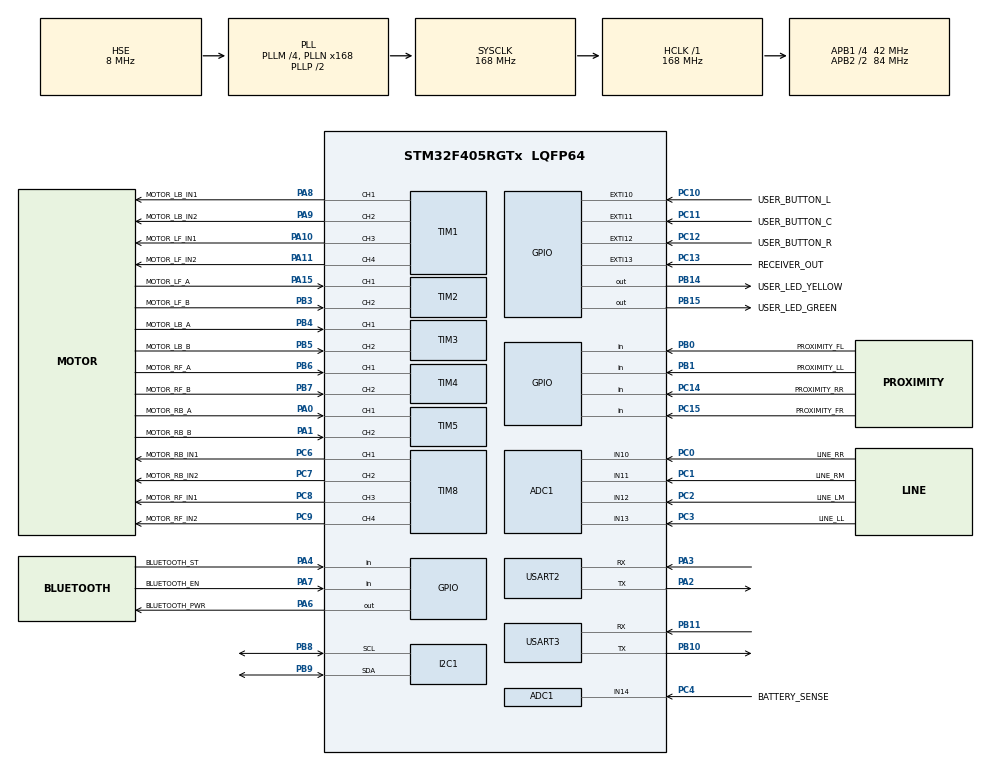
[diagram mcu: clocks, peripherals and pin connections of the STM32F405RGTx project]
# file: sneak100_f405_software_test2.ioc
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ADC1.Channel-1\#ChannelRegularConversion=ADC_CHANNEL_10
ADC1.Channel-2\#ChannelRegularConversion=ADC_CHANNEL_11
ADC1.Channel-3\#ChannelRegularConversion=ADC_CHANNEL_12
ADC1.Channel-4\#ChannelRegularConversion=ADC_CHANNEL_13
ADC1.Channel-5\#ChannelRegularConversion=ADC_CHANNEL_14
ADC1.Channel-6\#ChannelRegularConversion=ADC_CHANNEL_TEMPSENSOR
ADC1.ContinuousConvMode=ENABLE
ADC1.DMAContinuousRequests=ENABLE
ADC1.NbrOfConversion=6
ADC1.NbrOfConversionFlag=1
ADC1.Rank-1\#ChannelRegularConversion=1
ADC1.Rank-2\#ChannelRegularConversion=2
ADC1.Rank-3\#ChannelRegularConversion=3
ADC1.Rank-4\#ChannelRegularConversion=4
ADC1.Rank-5\#ChannelRegularConversion=5
ADC1.Rank-6\#ChannelRegularConversion=6
ADC1.SamplingTime-1\#ChannelRegularConversion=ADC_SAMPLETIME_480CYCLES
ADC1.SamplingTime-2\#ChannelRegularConversion=ADC_SAMPLETIME_480CYCLES
ADC1.SamplingTime-3\#ChannelRegularConversion=ADC_SAMPLETIME_480CYCLES
ADC1.SamplingTime-4\#ChannelRegularConversion=ADC_SAMPLETIME_480CYCLES
ADC1.SamplingTime-5\#ChannelRegularConversion=ADC_SAMPLETIME_480CYCLES
ADC1.SamplingTime-6\#ChannelRegularConversion=ADC_SAMPLETIME_480CYCLES
ADC1.ScanConvMode=ENABLE
ADC1.master=1
Dma.ADC1.0.Direction=DMA_PERIPH_TO_MEMORY
Dma.ADC1.0.FIFOMode=DMA_FIFOMODE_DISABLE
Dma.ADC1.0.Instance=DMA2_Stream0
Dma.ADC1.0.MemDataAlignment=DMA_MDATAALIGN_HALFWORD
Dma.ADC1.0.MemInc=DMA_MINC_ENABLE
Dma.ADC1.0.Mode=DMA_CIRCULAR
Dma.ADC1.0.PeriphDataAlignment=DMA_PDATAALIGN_HALFWORD
Dma.ADC1.0.PeriphInc=DMA_PINC_DISABLE
Dma.ADC1.0.Priority=DMA_PRIORITY_LOW
Dma.Request0=ADC1
I2C1.I2C_Mode=I2C_Fast
Mcu.Family=STM32F4
Mcu.Name=STM32F405RGTx
Mcu.Package=LQFP64
NVIC.DMA2_Stream0_IRQn=true\:0\:0\:false\:false\:true\:false\:true
NVIC.EXTI15_10_IRQn=true\:0\:0\:false\:false\:true\:true\:true
NVIC.PriorityGroup=NVIC_PRIORITYGROUP_4
NVIC.TIM6_DAC_IRQn=true\:0\:0\:false\:false\:true\:false\:true
NVIC.TIM7_IRQn=true\:0\:0\:false\:false\:true\:true\:true
NVIC.TimeBase=TIM6_DAC_IRQn
NVIC.TimeBaseIP=TIM6
PA0-WKUP.GPIO_Label=MOTOR_RB_A
PA0-WKUP.Signal=S_TIM5_CH1
PA1.GPIO_Label=MOTOR_RB_B
PA1.Signal=S_TIM5_CH2
PA10.GPIO_Label=MOTOR_LF_IN1
PA10.Signal=S_TIM1_CH3
PA11.GPIO_Label=MOTOR_LF_IN2
PA11.Signal=S_TIM1_CH4
PA13.Mode=Serial_Wire
PA13.Signal=SYS_JTMS-SWDIO
PA14.Mode=Serial_Wire
PA14.Signal=SYS_JTCK-SWCLK
PA15.GPIO_Label=MOTOR_LF_A
PA15.Signal=S_TIM2_CH1_ETR
PA2.Mode=Asynchronous
PA2.Signal=USART2_TX
PA3.Mode=Asynchronous
PA3.Signal=USART2_RX
PA4.GPIO_Label=BLUETOOTH_ST
PA4.Signal=GPIO_Input
PA6.GPIO_Label=BLUETOOTH_PWR
PA6.GPIO_ModeDefaultOutputPP=GPIO_MODE_OUTPUT_OD
PA6.Signal=GPIO_Output
PA7.GPIO_Label=BLUETOOTH_EN
PA7.Signal=GPIO_Input
PA8.GPIO_Label=MOTOR_LB_IN1
PA8.Signal=S_TIM1_CH1
PA9.GPIO_Label=MOTOR_LB_IN2
PA9.Signal=S_TIM1_CH2
PB0.GPIO_Label=PROXIMITY_FL
PB0.GPIO_PuPd=GPIO_PULLUP
PB0.Signal=GPIO_Input
PB1.GPIO_Label=PROXIMITY_LL
PB1.GPIO_PuPd=GPIO_PULLUP
PB1.Signal=GPIO_Input
PB10.Mode=Asynchronous
PB10.Signal=USART3_TX
PB11.Mode=Asynchronous
PB11.Signal=USART3_RX
PB14.GPIO_Label=USER_LED_YELLOW
PB14.Signal=GPIO_Output
PB15.GPIO_Label=USER_LED_GREEN
PB15.Signal=GPIO_Output
PB3.GPIO_Label=MOTOR_LF_B
PB3.Signal=S_TIM2_CH2
PB4.GPIO_Label=MOTOR_LB_A
PB4.Signal=S_TIM3_CH1
PB5.GPIO_Label=MOTOR_LB_B
PB5.Signal=S_TIM3_CH2
PB6.GPIO_Label=MOTOR_RF_A
PB6.Signal=S_TIM4_CH1
PB7.GPIO_Label=MOTOR_RF_B
PB7.Signal=S_TIM4_CH2
PB8.Mode=I2C
PB8.Signal=I2C1_SCL
PB9.Mode=I2C
PB9.Signal=I2C1_SDA
PC0.GPIO_Label=LINE_RR
PC0.Signal=ADCx_IN10
PC1.GPIO_Label=LINE_RM
PC1.Signal=ADCx_IN11
PC10.GPIO_Label=USER_BUTTON_L
PC10.GPIO_ModeDefaultEXTI=GPIO_MODE_IT_RISING_FALLING
PC10.Signal=GPXTI10
PC11.GPIO_Label=USER_BUTTON_C
PC11.GPIO_ModeDefaultEXTI=GPIO_MODE_IT_RISING_FALLING
PC11.Signal=GPXTI11
PC12.GPIO_Label=USER_BUTTON_R
PC12.GPIO_ModeDefaultEXTI=GPIO_MODE_IT_RISING_FALLING
PC12.Signal=GPXTI12
PC13-ANTI_TAMP.GPIO_Label=RECEIVER_OUT
PC13-ANTI_TAMP.GPIO_ModeDefaultEXTI=GPIO_MODE_IT_RISING_FALLING
PC13-ANTI_TAMP.Signal=GPXTI13
PC14-OSC32_IN.GPIO_Label=PROXIMITY_RR
PC14-OSC32_IN.GPIO_PuPd=GPIO_PULLUP
PC14-OSC32_IN.Signal=GPIO_Input
PC15-OSC32_OUT.GPIO_Label=PROXIMITY_FR
PC15-OSC32_OUT.GPIO_PuPd=GPIO_PULLUP
PC15-OSC32_OUT.Signal=GPIO_Input
PC2.GPIO_Label=LINE_LM
PC2.Signal=ADCx_IN12
PC3.GPIO_Label=LINE_LL
PC3.Signal=ADCx_IN13
PC4.GPIO_Label=BATTERY_SENSE
PC4.Signal=ADCx_IN14
PC6.GPIO_Label=MOTOR_RB_IN1
PC6.Signal=S_TIM8_CH1
PC7.GPIO_Label=MOTOR_RB_IN2
PC7.Signal=S_TIM8_CH2
PC8.GPIO_Label=MOTOR_RF_IN1
PC8.Signal=S_TIM8_CH3
PC9.GPIO_Label=MOTOR_RF_IN2
PC9.Signal=S_TIM8_CH4
PH0-OSC_IN.Mode=HSE-External-Oscillator
PH0-OSC_IN.Signal=RCC_OSC_IN
PH1-OSC_OUT.Mode=HSE-External-Oscillator
PH1-OSC_OUT.Signal=RCC_OSC_OUT
ProjectManager.HeapSize=0x200
ProjectManager.StackSize=0x400
ProjectManager.TargetToolchain=STM32CubeIDE
RCC.48MHZClocksFreq_Value=84000000
RCC.AHBFreq_Value=168000000
RCC.APB1CLKDivider=RCC_HCLK_DIV4
RCC.APB1Freq_Value=42000000
RCC.APB1TimFreq_Value=84000000
RCC.APB2CLKDivider=RCC_HCLK_DIV2
RCC.APB2Freq_Value=84000000
RCC.APB2TimFreq_Value=168000000
RCC.CortexFreq_Value=168000000
RCC.HCLKFreq_Value=168000000
RCC.HSE_VALUE=8000000
RCC.HSI_VALUE=16000000
RCC.LSE_VALUE=32768
RCC.PLLM=4
RCC.PLLN=168
RCC.PLLSourceVirtual=RCC_PLLSOURCE_HSE
RCC.SYSCLKFreq_VALUE=168000000
RCC.SYSCLKSource=RCC_SYSCLKSOURCE_PLLCLK
RCC.VCOOutputFreq_Value=336000000
SH.ADCx_IN10.0=ADC1_IN10,IN10
SH.ADCx_IN11.0=ADC1_IN11,IN11
SH.ADCx_IN12.0=ADC1_IN12,IN12
SH.ADCx_IN13.0=ADC1_IN13,IN13
SH.ADCx_IN14.0=ADC1_IN14,IN14
SH.S_TIM1_CH1.0=TIM1_CH1,PWM Generation1 CH1
SH.S_TIM1_CH2.0=TIM1_CH2,PWM Generation2 CH2
SH.S_TIM1_CH3.0=TIM1_CH3,PWM Generation3 CH3
SH.S_TIM1_CH4.0=TIM1_CH4,PWM Generation4 CH4
SH.S_TIM2_CH1_ETR.0=TIM2_CH1,Encoder_Interface
SH.S_TIM2_CH2.0=TIM2_CH2,Encoder_Interface
SH.S_TIM3_CH1.0=TIM3_CH1,Encoder_Interface
SH.S_TIM3_CH2.0=TIM3_CH2,Encoder_Interface
SH.S_TIM4_CH1.0=TIM4_CH1,Encoder_Interface
SH.S_TIM4_CH2.0=TIM4_CH2,Encoder_Interface
SH.S_TIM5_CH1.0=TIM5_CH1,Encoder_Interface
SH.S_TIM5_CH2.0=TIM5_CH2,Encoder_Interface
SH.S_TIM8_CH1.0=TIM8_CH1,PWM Generation1 CH1
SH.S_TIM8_CH2.0=TIM8_CH2,PWM Generation2 CH2
SH.S_TIM8_CH3.0=TIM8_CH3,PWM Generation3 CH3
SH.S_TIM8_CH4.0=TIM8_CH4,PWM Generation4 CH4
TIM1.Channel-PWM\ Generation1\ CH1=TIM_CHANNEL_1
TIM1.Channel-PWM\ Generation2\ CH2=TIM_CHANNEL_2
TIM1.Channel-PWM\ Generation3\ CH3=TIM_CHANNEL_3
TIM1.Channel-PWM\ Generation4\ CH4=TIM_CHANNEL_4
TIM7.Prescaler=83
TIM8.Channel-PWM\ Generation1\ CH1=TIM_CHANNEL_1
TIM8.Channel-PWM\ Generation2\ CH2=TIM_CHANNEL_2
TIM8.Channel-PWM\ Generation3\ CH3=TIM_CHANNEL_3
TIM8.Channel-PWM\ Generation4\ CH4=TIM_CHANNEL_4
USART2.VirtualMode=VM_ASYNC
USART3.VirtualMode=VM_ASYNC
VP_ADC1_TempSens_Input.Mode=IN-TempSens
VP_SYS_VS_tim6.Mode=TIM6
VP_TIM7_VS_ClockSourceINT.Mode=Enable_Timer
board=custom

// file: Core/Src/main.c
/* USER CODE BEGIN Header */
/**
  ******************************************************************************
  * @file           : main.c
  * @brief          : Main program body
  ******************************************************************************
  * @attention
  *
  * <h2><center>&copy; Copyright (c) 2021 STMicroelectronics.
  * All rights reserved.</center></h2>
  *
  * This software component is licensed by ST under BSD 3-Clause license,
  * the "License"; You may not use this file except in compliance with the
  * License. You may obtain a copy of the License at:
  *                        opensource.org/licenses/BSD-3-Clause
  *
  ******************************************************************************
  */
/* USER CODE END Header */
#include "main.h"
#include "adc.h"
#include "dma.h"
#include "i2c.h"
#include "tim.h"
#include "usart.h"
#include "gpio.h"

/* USER CODE BEGIN Includes */

#include "sneak100_adc.h"
#include "sneak100_bluetooth.h"
#include "sneak100_display.h"
#include "sneak100_motors.h"
#include "sneak100_proximity.h"
#include "sneak100_memory.h"
#include "sneak100_rc5.h"

#include <math.h>

/* USER CODE END Includes */

void SystemClock_Config(void);

int main(void)
{

  /* MCU Configuration--------------------------------------------------------*/

  /* Reset of all peripherals, Initializes the Flash interface and the Systick. */
  HAL_Init();

  /* Configure the system clock */
  SystemClock_Config();

  /* Initialize all configured peripherals */
  MX_GPIO_Init();
  MX_DMA_Init();
  MX_ADC1_Init();
  MX_I2C1_Init();
  MX_USART2_UART_Init();
  MX_USART3_UART_Init();
  MX_TIM1_Init();
  MX_TIM2_Init();
  MX_TIM3_Init();
  MX_TIM4_Init();
  MX_TIM5_Init();
  MX_TIM7_Init();
  MX_TIM8_Init();
  /* USER CODE BEGIN 2 */

  SNEAK100_ADC_Init();
  SNEAK100_Motors_Init();
  SNEAK100_Display_Init();
  SNEAK100_Memory_Init();
  SNEAK100_Proximity_Init();
  SNEAK100_RC5_Init();

  /* USER CODE END 2 */

  /* Infinite loop */
  /* USER CODE BEGIN WHILE */
  while(1) {

	  for(uint8_t i=0; i<4; i++) {
		  gui.data.position[i] = Encoder_GetPositionRaw(&encoders[i]);
		  gui.data.velocity[i] = Encoder_GetVelocity(&encoders[i]);
		  gui.data.line[i] = *lines[i].read_src;
		  gui.data.line_threshold[i] = lines[i].threshold;
		  gui.data.line_polarity[i] = lines[i].polarity;
		  gui.data.proximity[i] = ProximitySensor_GetState(&proximity[i]);
	  }
	  gui.data.line_state = SNEAK100_Line_GetState_ALL();
	  gui.data.temperature = SNEAK100_ADC_GetTemperature();
	  gui.data.battery = SNEAK100_ADC_GetSupplyVoltage();

	  RC5_Message_t message;
	  if(DecoderRC5_GetMessage(&decoder_rc5, &message)) {
		  gui.data.rc5_toggle = message.toggle;
		  gui.data.rc5_address = message.address;
		  gui.data.rc5_command = message.command;
	  }

	  SNEAK100_Display_Update();

	  //SNEAK100_Motors_Update();
	  //SNEAK100_Motors_SetSpeeds_1(100);
	  __Motor_SetPower(&motors[MOTOR_LF], MOTOR_POWER_MAX*sin(0.2f*HAL_GetTick()/1000.f));
	  __Motor_SetPower(&motors[MOTOR_LB], MOTOR_POWER_MAX*sin(0.2f*HAL_GetTick()/1000.f));
	  __Motor_SetPower(&motors[MOTOR_RF], MOTOR_POWER_MAX*sin(0.2f*HAL_GetTick()/1000.f));
	  __Motor_SetPower(&motors[MOTOR_RB], MOTOR_POWER_MAX*sin(0.2f*HAL_GetTick()/1000.f));

	  HAL_GPIO_TogglePin(USER_LED_GREEN_GPIO_Port, USER_LED_GREEN_Pin);
	  HAL_Delay(50);
	  HAL_GPIO_TogglePin(USER_LED_YELLOW_GPIO_Port, USER_LED_YELLOW_Pin);
	  HAL_Delay(50);

    /* USER CODE END WHILE */

  }
}

void SystemClock_Config(void)
{
  RCC_OscInitTypeDef RCC_OscInitStruct = {0};
  RCC_ClkInitTypeDef RCC_ClkInitStruct = {0};

  /** Configure the main internal regulator output voltage
  */
  __HAL_RCC_PWR_CLK_ENABLE();
  __HAL_PWR_VOLTAGESCALING_CONFIG(PWR_REGULATOR_VOLTAGE_SCALE1);
  /** Initializes the RCC Oscillators according to the specified parameters
  * in the RCC_OscInitTypeDef structure.
  */
  RCC_OscInitStruct.OscillatorType = RCC_OSCILLATORTYPE_HSE;
  RCC_OscInitStruct.HSEState = RCC_HSE_ON;
  RCC_OscInitStruct.PLL.PLLState = RCC_PLL_ON;
  RCC_OscInitStruct.PLL.PLLSource = RCC_PLLSOURCE_HSE;
  RCC_OscInitStruct.PLL.PLLM = 4;
  RCC_OscInitStruct.PLL.PLLN = 168;
  RCC_OscInitStruct.PLL.PLLP = RCC_PLLP_DIV2;
  RCC_OscInitStruct.PLL.PLLQ = 4;
  if (HAL_RCC_OscConfig(&RCC_OscInitStruct) != HAL_OK)
  {
    Error_Handler();
  }
  /** Initializes the CPU, AHB and APB buses clocks
  */
  RCC_ClkInitStruct.ClockType = RCC_CLOCKTYPE_HCLK|RCC_CLOCKTYPE_SYSCLK
                              |RCC_CLOCKTYPE_PCLK1|RCC_CLOCKTYPE_PCLK2;
  RCC_ClkInitStruct.SYSCLKSource = RCC_SYSCLKSOURCE_PLLCLK;
  RCC_ClkInitStruct.AHBCLKDivider = RCC_SYSCLK_DIV1;
  RCC_ClkInitStruct.APB1CLKDivider = RCC_HCLK_DIV4;
  RCC_ClkInitStruct.APB2CLKDivider = RCC_HCLK_DIV2;

  if (HAL_RCC_ClockConfig(&RCC_ClkInitStruct, FLASH_LATENCY_5) != HAL_OK)
  {
    Error_Handler();
  }
}

/* USER CODE BEGIN 4 */

void HAL_GPIO_EXTI_Callback(uint16_t GPIO_Pin) {
	DecoderRC5_EXTI_Callback(&decoder_rc5, GPIO_Pin);
}

/* USER CODE END 4 */

 /**
  * @brief  Period elapsed callback in non blocking mode
  * @note   This function is called  when TIM6 interrupt took place, inside
  * HAL_TIM_IRQHandler(). It makes a direct call to HAL_IncTick() to increment
  * a global variable "uwTick" used as application time base.
  * @param  htim : TIM handle
  * @retval None
  */
void HAL_TIM_PeriodElapsedCallback(TIM_HandleTypeDef *htim)
{
  /* USER CODE BEGIN Callback 0 */

	DecoderRC5_PeriodElapsedCallback(&decoder_rc5, htim);

  /* USER CODE END Callback 0 */
  if (htim->Instance == TIM6) {
    HAL_IncTick();
  }
}

void Error_Handler(void)
{
  __disable_irq();
  while (1)
  {
  }
}

/************************ (C) COPYRIGHT STMicroelectronics *****END OF FILE****/
